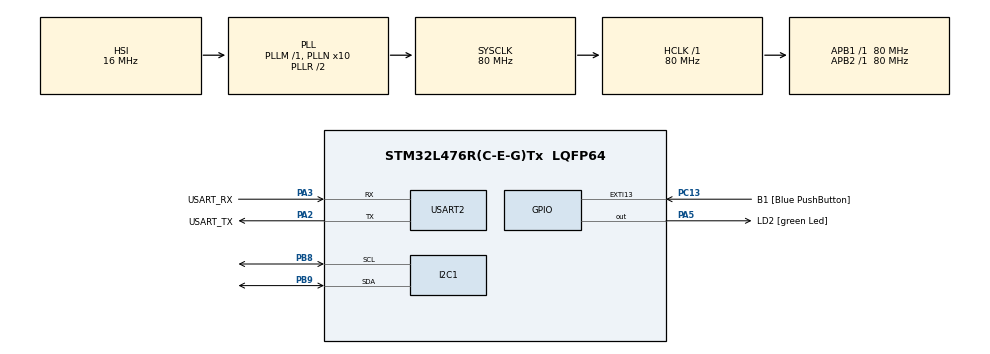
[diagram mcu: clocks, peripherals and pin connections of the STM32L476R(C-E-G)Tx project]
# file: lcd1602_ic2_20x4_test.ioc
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I2C1.Timing=0x10909CEC
Mcu.Family=STM32L4
Mcu.Name=STM32L476R(C-E-G)Tx
Mcu.Package=LQFP64
NVIC.PriorityGroup=NVIC_PRIORITYGROUP_4
PA13\ (JTMS-SWDIO).GPIO_Label=TMS
PA13\ (JTMS-SWDIO).Mode=Serial_Wire
PA13\ (JTMS-SWDIO).Signal=SYS_JTMS-SWDIO
PA14\ (JTCK-SWCLK).GPIO_Label=TCK
PA14\ (JTCK-SWCLK).Mode=Serial_Wire
PA14\ (JTCK-SWCLK).Signal=SYS_JTCK-SWCLK
PA2.GPIO_Label=USART_TX
PA2.GPIO_Mode=GPIO_MODE_AF_PP
PA2.GPIO_PuPd=GPIO_NOPULL
PA2.GPIO_Speed=GPIO_SPEED_FREQ_VERY_HIGH
PA2.Mode=Asynchronous
PA2.Signal=USART2_TX
PA3.GPIO_Label=USART_RX
PA3.GPIO_Mode=GPIO_MODE_AF_PP
PA3.GPIO_PuPd=GPIO_NOPULL
PA3.GPIO_Speed=GPIO_SPEED_FREQ_VERY_HIGH
PA3.Mode=Asynchronous
PA3.Signal=USART2_RX
PA5.GPIO_Label=LD2 [green Led]
PA5.GPIO_ModeDefaultOutputPP=GPIO_MODE_OUTPUT_PP
PA5.GPIO_PuPd=GPIO_NOPULL
PA5.GPIO_Speed=GPIO_SPEED_FREQ_LOW
PA5.Signal=GPIO_Output
PB3\ (JTDO-TRACESWO).GPIO_Label=SWO
PB3\ (JTDO-TRACESWO).Signal=SYS_JTDO-SWO
PB8.Mode=I2C
PB8.Signal=I2C1_SCL
PB9.Mode=I2C
PB9.Signal=I2C1_SDA
PC13.GPIO_Label=B1 [Blue PushButton]
PC13.GPIO_ModeDefaultEXTI=GPIO_MODE_IT_FALLING
PC13.GPIO_PuPd=GPIO_NOPULL
PC13.Signal=GPXTI13
PC14-OSC32_IN\ (PC14).Mode=LSE-External-Oscillator
PC14-OSC32_IN\ (PC14).Signal=RCC_OSC32_IN
PC15-OSC32_OUT\ (PC15).Mode=LSE-External-Oscillator
PC15-OSC32_OUT\ (PC15).Signal=RCC_OSC32_OUT
PH0-OSC_IN\ (PH0).Signal=RCC_OSC_IN
PH1-OSC_OUT\ (PH1).Signal=RCC_OSC_OUT
ProjectManager.HeapSize=0x200
ProjectManager.StackSize=0x400
ProjectManager.TargetToolchain=STM32CubeIDE
RCC.ADCFreq_Value=64000000
RCC.AHBFreq_Value=80000000
RCC.APB1Freq_Value=80000000
RCC.APB1TimFreq_Value=80000000
RCC.APB2Freq_Value=80000000
RCC.APB2TimFreq_Value=80000000
RCC.CortexFreq_Value=80000000
RCC.HCLKFreq_Value=80000000
RCC.HSE_VALUE=8000000
RCC.HSI_VALUE=16000000
RCC.MSI_VALUE=4000000
RCC.PLLN=10
RCC.PLLSourceVirtual=RCC_PLLSOURCE_HSI
RCC.PREFETCH_ENABLE=1
RCC.SYSCLKFreq_VALUE=80000000
RCC.SYSCLKSource=RCC_SYSCLKSOURCE_PLLCLK
RCC.USBFreq_Value=64000000
RCC.VCOOutputFreq_Value=160000000
USART2.VirtualMode-Asynchronous=VM_ASYNC
board=NUCLEO-L476RG

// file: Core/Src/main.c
/* USER CODE BEGIN Header */
/**
  ******************************************************************************
  * @file           : main.c
  * @brief          : Main program body
  ******************************************************************************
  * @attention
  *
  * Copyright (c) 2022 STMicroelectronics.
  * All rights reserved.
  *
  * This software is licensed under terms that can be found in the LICENSE file
  * in the root directory of this software component.
  * If no LICENSE file comes with this software, it is provided AS-IS.
  *
  ******************************************************************************
  */
/* USER CODE END Header */
#include "main.h"
#include "i2c.h"
#include "usart.h"
#include "gpio.h"

/* USER CODE BEGIN Includes */
#include <stdio.h>
/* USER CODE END Includes */

/* USER CODE BEGIN PD */
#define LCD_I2C_SLAVE_ADDRESS (0x27<<1)	// For LCD1602 20x4 display, left shift 1 for STM32
#define I2C_TIMEOUT_DELAY 100
/* USER CODE END PD */

void SystemClock_Config(void);
/* USER CODE BEGIN PFP */

int _write(int fd, char* ptr, int len)
{
	HAL_UART_Transmit(&huart2, (uint8_t*)ptr, len, HAL_MAX_DELAY);
	return len;
}

// Sends the command to the device to which LCD is connected
void lcd_send_cmd(char cmd)
{
	char data_u, data_l;
	uint8_t data_t[4];

	data_u = (cmd&0xf0);
	data_l = ((cmd<<4)&0xf0);
	data_t[0] = data_u|0x0C;  // en=1, rs=0
	data_t[1] = data_u|0x08;  // en=0, rs=0
	data_t[2] = data_l|0x0C;  // en=1, rs=0
	data_t[3] = data_l|0x08;  // en=0, rs=0

	if (HAL_I2C_Master_Transmit(&hi2c1, LCD_I2C_SLAVE_ADDRESS, (uint8_t*)data_t, 4, I2C_TIMEOUT_DELAY) != HAL_OK)
	{
		Error_Handler();
	}
}

// Sends the data to the LCD
void lcd_send_data (char data)
{
	char data_u, data_l;
	uint8_t data_t[4];

	data_u = (data&0xf0);
	data_l = ((data<<4)&0xf0);
	data_t[0] = data_u|0x0D;  //en=1, rs=1
	data_t[1] = data_u|0x09;  //en=0, rs=1
	data_t[2] = data_l|0x0D;  //en=1, rs=1
	data_t[3] = data_l|0x09;  //en=0, rs=1

	if (HAL_I2C_Master_Transmit (&hi2c1, LCD_I2C_SLAVE_ADDRESS,(uint8_t *)data_t, 4, 100) != HAL_OK)
	{
		Error_Handler();
	}
}

// Initializes LCD
void lcd_init (void)
{
	// 4 bit initialisation
	HAL_Delay(50);  // wait for >40ms
	lcd_send_cmd (0x30);
	HAL_Delay(5);  // wait for >4.1ms
	lcd_send_cmd (0x30);
	HAL_Delay(1);  // wait for >100us
	lcd_send_cmd (0x30);
	HAL_Delay(10);
	lcd_send_cmd (0x20);  // 4bit mode
	HAL_Delay(10);

	// dislay initialisation
	lcd_send_cmd (0x28); // Function set --> DL=0 (4 bit mode), N = 1 (2 line display) F = 0 (5x8 characters)
	HAL_Delay(1);
	lcd_send_cmd (0x08); //Display on/off control --> D=0,C=0, B=0  ---> display off
	HAL_Delay(1);
	lcd_send_cmd (0x01);  // clear display
	HAL_Delay(1);
	HAL_Delay(1);
	lcd_send_cmd (0x06); //Entry mode set --> I/D = 1 (increment cursor) & S = 0 (no shift)
	HAL_Delay(1);
	lcd_send_cmd (0x0C); //Display on/off control --> D = 1, C and B = 0. (Cursor and blink, last two bits)
}

void lcd_send_string (char *str)
{
	while (*str) lcd_send_data (*str++);
}

/* USER CODE END PFP */

int main(void)
{

  /* MCU Configuration--------------------------------------------------------*/

  /* Reset of all peripherals, Initializes the Flash interface and the Systick. */
  HAL_Init();

  /* Configure the system clock */
  SystemClock_Config();

  /* Initialize all configured peripherals */
  MX_GPIO_Init();
  MX_USART2_UART_Init();
  MX_I2C1_Init();
  /* USER CODE BEGIN 2 */

  if (HAL_I2C_IsDeviceReady(&hi2c1, LCD_I2C_SLAVE_ADDRESS, 100, I2C_TIMEOUT_DELAY) != HAL_OK)
  {
	  Error_Handler();
  }

  lcd_init();
  lcd_send_string("UBTECH Robotics");
  HAL_Delay(1000);

//  lcd_put_cur(1,0);
//  lcd_send_string(" UBTECH");
  /* USER CODE END 2 */

  /* Infinite loop */
  while (1)
  {

    /* USER CODE BEGIN 3 */
	  HAL_GPIO_WritePin(GPIOA, GPIO_PIN_5, GPIO_PIN_SET);
	  HAL_Delay(500);
	  HAL_GPIO_WritePin(GPIOA, GPIO_PIN_5, GPIO_PIN_RESET);
	  HAL_Delay(500);
  }
  /* USER CODE END 3 */
}

void SystemClock_Config(void)
{
  RCC_OscInitTypeDef RCC_OscInitStruct = {0};
  RCC_ClkInitTypeDef RCC_ClkInitStruct = {0};

  /** Configure the main internal regulator output voltage
  */
  if (HAL_PWREx_ControlVoltageScaling(PWR_REGULATOR_VOLTAGE_SCALE1) != HAL_OK)
  {
    Error_Handler();
  }
  /** Initializes the RCC Oscillators according to the specified parameters
  * in the RCC_OscInitTypeDef structure.
  */
  RCC_OscInitStruct.OscillatorType = RCC_OSCILLATORTYPE_HSI;
  RCC_OscInitStruct.HSIState = RCC_HSI_ON;
  RCC_OscInitStruct.HSICalibrationValue = RCC_HSICALIBRATION_DEFAULT;
  RCC_OscInitStruct.PLL.PLLState = RCC_PLL_ON;
  RCC_OscInitStruct.PLL.PLLSource = RCC_PLLSOURCE_HSI;
  RCC_OscInitStruct.PLL.PLLM = 1;
  RCC_OscInitStruct.PLL.PLLN = 10;
  RCC_OscInitStruct.PLL.PLLP = RCC_PLLP_DIV7;
  RCC_OscInitStruct.PLL.PLLQ = RCC_PLLQ_DIV2;
  RCC_OscInitStruct.PLL.PLLR = RCC_PLLR_DIV2;
  if (HAL_RCC_OscConfig(&RCC_OscInitStruct) != HAL_OK)
  {
    Error_Handler();
  }
  /** Initializes the CPU, AHB and APB buses clocks
  */
  RCC_ClkInitStruct.ClockType = RCC_CLOCKTYPE_HCLK|RCC_CLOCKTYPE_SYSCLK
                              |RCC_CLOCKTYPE_PCLK1|RCC_CLOCKTYPE_PCLK2;
  RCC_ClkInitStruct.SYSCLKSource = RCC_SYSCLKSOURCE_PLLCLK;
  RCC_ClkInitStruct.AHBCLKDivider = RCC_SYSCLK_DIV1;
  RCC_ClkInitStruct.APB1CLKDivider = RCC_HCLK_DIV1;
  RCC_ClkInitStruct.APB2CLKDivider = RCC_HCLK_DIV1;

  if (HAL_RCC_ClockConfig(&RCC_ClkInitStruct, FLASH_LATENCY_4) != HAL_OK)
  {
    Error_Handler();
  }
}

void Error_Handler(void)
{
  /* USER CODE BEGIN Error_Handler_Debug */
  /* User can add his own implementation to report the HAL error return state */
  __disable_irq();
  while (1)
  {
	  HAL_GPIO_WritePin(GPIOA, GPIO_PIN_5, GPIO_PIN_SET);
  }
  /* USER CODE END Error_Handler_Debug */
}
